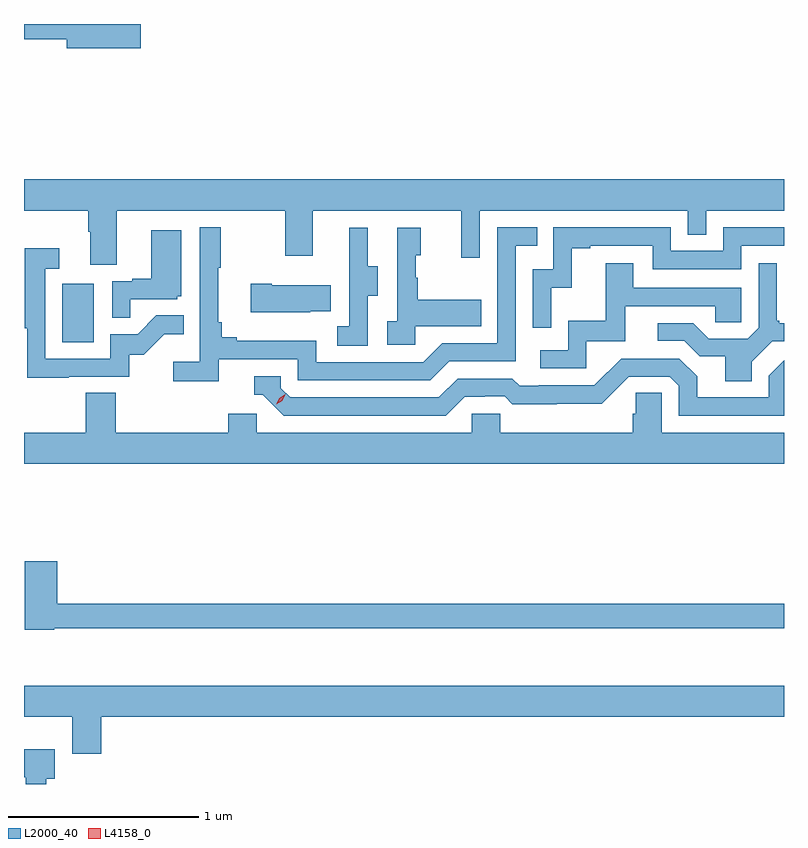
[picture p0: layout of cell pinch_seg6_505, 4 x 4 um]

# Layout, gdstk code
import gdstk
lib = gdstk.Library(unit=1e-6, precision=1e-09)
def R(c, l, rs):  # rectangles x0, y0, x1, y1
    for r in rs: c.add(gdstk.rectangle(r[:2], r[2:], *l))
def P(c, l, *ps):  # polygons
    for p in ps: c.add(gdstk.Polygon(p, *l))
L2000_40 = (2000, 40)
L4158_0 = (4158, 0)

pinch_seg6_505 = lib.new_cell('pinch_seg6_505')
R(pinch_seg6_505, L2000_40, [(861.734,925.332,861.898,925.639)])
P(pinch_seg6_505, L2000_40, [(862.147,927.006),(861.532,927.006),(861.532,926.926),(861.758,926.926),(861.758,926.879),(862.147,926.879)],
  [(862.021,926.024),(862.906,926.024),(862.906,925.785),(863.053,925.785),(863.053,926.024),(863.834,926.024),(863.834,925.776),(863.931,925.776),(863.931,926.024),(865.026,926.024),(865.026,925.897),(865.122,925.897),(865.122,926.024),(865.532,926.024),(865.532,926.188),(861.532,926.188),(861.532,926.024),(861.869,926.024),(861.869,925.912),(861.881,925.912),(861.881,925.738),(862.021,925.738)],
  [(862.556,925.242),(862.974,925.242),(862.974,925.131),(863.671,925.131),(863.77,925.23),(864.12,925.23),(864.12,925.839),(864.233,925.839),(864.233,925.935),(864.024,925.935),(864.024,925.326),(863.733,925.326),(863.634,925.227),(863.07,925.227),(863.07,925.339),(862.651,925.339),(862.651,925.358),(862.574,925.358),(862.574,925.435),(862.555,925.435),(862.555,925.723),(862.567,925.723),(862.567,925.936),(862.458,925.936),(862.458,925.228),(862.317,925.228),(862.317,925.126),(862.556,925.126)],
  [(864.306,925.619),(864.416,925.619),(864.416,925.827),(864.511,925.827),(864.511,925.839),(864.84,925.839),(864.84,925.716),(865.308,925.716),(865.308,925.839),(865.532,925.839),(865.532,925.935),(865.212,925.935),(865.212,925.812),(864.936,925.812),(864.936,925.935),(864.318,925.935),(864.318,925.716),(864.21,925.716),(864.21,925.407),(864.306,925.407)],
  [(863.592,925.415),(863.939,925.415),(863.939,925.555),(863.605,925.555),(863.605,925.67),(863.595,925.67),(863.595,925.788),(863.62,925.788),(863.62,925.933),(863.496,925.933),(863.496,925.442),(863.445,925.442),(863.445,925.317),(863.592,925.317)],
  [(863.34,925.576),(863.395,925.576),(863.395,925.731),(863.341,925.731),(863.341,925.933),(863.243,925.933),(863.243,925.719),(863.244,925.719),(863.244,925.415),(863.181,925.415),(863.181,925.312),(863.34,925.312)],
  [(862.091,925.557),(862.338,925.557),(862.338,925.572),(862.36,925.572),(862.36,925.921),(862.202,925.921),(862.202,925.666),(862.103,925.666),(862.103,925.653),(861.996,925.653),(861.996,925.459),(862.091,925.459)],
  [(861.767,925.149),(862.086,925.149),(862.086,925.266),(862.162,925.266),(862.269,925.373),(862.373,925.373),(862.373,925.472),(862.229,925.472),(862.131,925.374),(861.987,925.374),(861.987,925.245),(861.645,925.245),(861.645,925.719),(861.718,925.719),(861.718,925.825),(861.537,925.825),(861.537,925.405),(861.549,925.405),(861.549,925.144),(861.767,925.144)],
  [(865.363,925.228),(865.47,925.335),(865.532,925.335),(865.532,925.432),(865.507,925.432),(865.507,925.444),(865.495,925.444),(865.495,925.747),(865.398,925.747),(865.398,925.407),(865.341,925.35),(865.135,925.35),(865.054,925.431),(864.867,925.431),(864.867,925.338),(865.008,925.338),(865.088,925.258),(865.223,925.258),(865.223,925.126),(865.363,925.126)],
  [(864.492,925.335),(864.697,925.335),(864.697,925.521),(865.171,925.521),(865.171,925.437),(865.308,925.437),(865.308,925.617),(864.739,925.617),(864.739,925.747),(864.595,925.747),(864.595,925.444),(864.396,925.444),(864.396,925.29),(864.249,925.29),(864.249,925.194),(864.492,925.194)],
  [(863.039,925.493),(863.147,925.493),(863.147,925.63),(862.837,925.63),(862.837,925.638),(862.725,925.638),(862.725,925.49),(863.039,925.49)],
  [(863.851,925.044),(863.958,925.044),(863.958,925.047),(864.061,925.047),(864.103,925.005),(864.336,925.005),(864.336,925.007),(864.572,925.007),(864.714,925.149),(864.93,925.149),(864.978,925.101),(864.978,924.945),(865.532,924.945),(865.532,925.235),(865.452,925.155),(865.452,925.041),(865.075,925.041),(865.075,925.151),(864.981,925.245),(864.675,925.245),(864.534,925.104),(864.241,925.104),(864.241,925.101),(864.142,925.101),(864.103,925.14),(863.814,925.14),(863.715,925.041),(862.932,925.041),(862.884,925.089),(862.884,925.152),(862.745,925.152),(862.745,925.056),(862.788,925.056),(862.899,924.945),(863.752,924.945)],
  [(863.889,924.954),(863.889,924.856),(862.758,924.856),(862.758,924.954),(862.607,924.954),(862.607,924.856),(862.016,924.856),(862.016,925.064),(861.856,925.064),(861.856,924.856),(861.532,924.856),(861.532,924.692),(865.532,924.692),(865.532,924.856),(864.888,924.856),(864.888,925.064),(864.751,925.064),(864.751,924.954),(864.737,924.954),(864.737,924.856),(864.039,924.856),(864.039,924.954)],
  [(861.69,923.826),(865.532,923.826),(865.532,923.954),(861.707,923.954),(861.707,924.178),(861.536,924.178),(861.536,923.818),(861.69,923.818)],
  [(861.938,923.36),(865.532,923.36),(865.532,923.524),(861.532,923.524),(861.532,923.36),(861.785,923.36),(861.785,923.166),(861.938,923.166)],
  [(861.649,923.034),(861.694,923.034),(861.694,923.188),(861.532,923.188),(861.532,923.041),(861.542,923.041),(861.542,923.006),(861.649,923.006)])
P(pinch_seg6_505, L4158_0, [(862.859,925.005),(862.859,925.005),(862.875,925.037),(862.906,925.057),(862.906,925.057),(862.906,925.056),(862.89,925.024),(862.859,925.005)])

lib.write_gds('pinch_seg6_505.gds')
